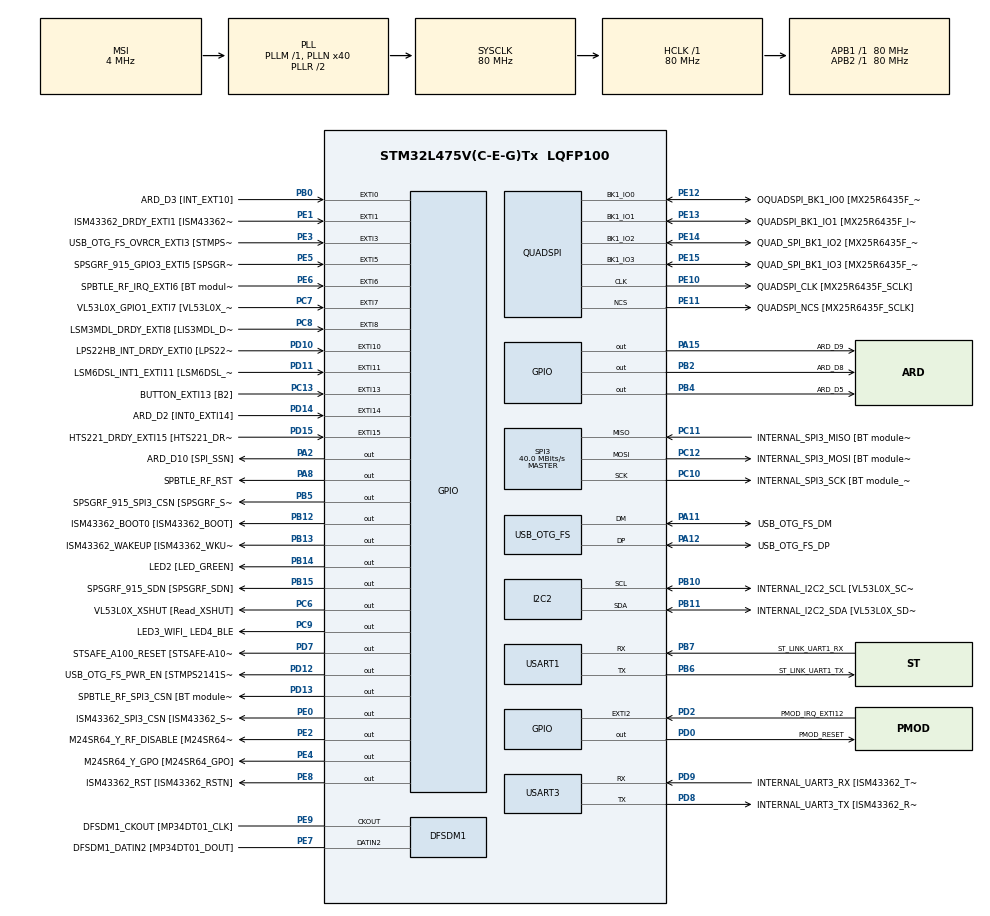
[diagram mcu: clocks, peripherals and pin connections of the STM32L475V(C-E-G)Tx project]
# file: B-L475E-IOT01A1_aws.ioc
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I2C2.Timing=0x10909CEC
Mcu.Family=STM32L4
Mcu.Name=STM32L475V(C-E-G)Tx
Mcu.Package=LQFP100
NVIC.EXTI15_10_IRQn=true\:0\:0\:false\:false\:true\:false\:true\:true\:true
NVIC.EXTI9_5_IRQn=true\:0\:0\:false\:false\:true\:false\:true\:true\:true
NVIC.PriorityGroup=NVIC_PRIORITYGROUP_4
NVIC.TIM7_IRQn=true\:15\:0\:false\:false\:true\:false\:false\:true\:true
NVIC.TimeBase=TIM7_IRQn
NVIC.TimeBaseIP=TIM7
PA0.GPIO_Label=ARD_D1 [UART4_TX]
PA0.Signal=UART4_TX
PA1.GPIO_Label=ARD_D0 [UART4_RX]
PA1.Signal=UART4_RX
PA10.GPIO_Label=USB_OTG_FS_ID
PA10.Signal=USB_OTG_FS_ID
PA11.GPIO_Label=USB_OTG_FS_DM
PA11.Mode=Device_Only
PA11.Signal=USB_OTG_FS_DM
PA12.GPIO_Label=USB_OTG_FS_DP
PA12.Mode=Device_Only
PA12.Signal=USB_OTG_FS_DP
PA13\ (JTMS-SWDIO).GPIO_Label=SYS_JTMS_SWDIO
PA13\ (JTMS-SWDIO).Mode=Serial_Wire
PA13\ (JTMS-SWDIO).Signal=SYS_JTMS-SWDIO
PA14\ (JTCK-SWCLK).GPIO_Label=SYS_JTCK_SWCLK
PA14\ (JTCK-SWCLK).Mode=Serial_Wire
PA14\ (JTCK-SWCLK).Signal=SYS_JTCK-SWCLK
PA15\ (JTDI).GPIO_Label=ARD_D9
PA15\ (JTDI).Signal=GPIO_Output
PA2.GPIO_Label=ARD_D10 [SPI_SSN]
PA2.Signal=GPIO_Output
PA3.GPIO_Label=ARD_D4
PA3.Signal=S_TIM2_CH4
PA4.GPIO_Label=ARD_D7
PA4.Signal=ADCx_IN9
PA5.GPIO_Label=ARD_D13 [SPI1_SCK]
PA5.Signal=SPI1_SCK
PA6.GPIO_Label=ARD_D12 [SPI1_MISO]
PA6.Signal=SPI1_MISO
PA7.GPIO_Label=ARD_D11 [SPI1_MOSI]
PA7.Signal=SPI1_MOSI
PA8.GPIO_Label=SPBTLE_RF_RST
PA8.Signal=GPIO_Output
PA9.GPIO_Label=USB_OTG_FS_VBUS [STMPS2141STR_OUT]
PA9.Signal=USB_OTG_FS_VBUS
PB0.GPIO_Label=ARD_D3 [INT_EXT10]
PB0.Signal=GPXTI0
PB1.GPIO_Label=ARD_D6 [ADC1_IN6]
PB1.Signal=ADCx_IN16
PB10.GPIO_Label=INTERNAL_I2C2_SCL [VL53L0X_SCL]
PB10.GPIO_Pu=GPIO_PULLUP
PB10.Mode=I2C
PB10.Signal=I2C2_SCL
PB11.GPIO_Label=INTERNAL_I2C2_SDA [VL53L0X_SDA]
PB11.GPIO_Pu=GPIO_PULLUP
PB11.Mode=I2C
PB11.Signal=I2C2_SDA
PB12.GPIO_Label=ISM43362_BOOT0 [ISM43362_BOOT]
PB12.Signal=GPIO_Output
PB13.GPIO_Label=ISM43362_WAKEUP [ISM43362_WKUP]
PB13.Signal=GPIO_Output
PB14.GPIO_Label=LED2 [LED_GREEN]
PB14.Signal=GPIO_Output
PB15.GPIO_Label=SPSGRF_915_SDN [SPSGRF_SDN]
PB15.Signal=GPIO_Output
PB2.GPIO_Label=ARD_D8
PB2.Signal=GPIO_Output
PB3\ (JTDO-TRACESWO).GPIO_Label=SYS_JTD0_SWO
PB3\ (JTDO-TRACESWO).Signal=SYS_JTDO-SWO
PB4\ (NJTRST).GPIO_Label=ARD_D5
PB4\ (NJTRST).Signal=GPIO_Output
PB5.GPIO_Label=SPSGRF_915_SPI3_CSN [SPSGRF_SPI_CS]
PB5.PinState=GPIO_PIN_SET
PB5.Signal=GPIO_Output
PB6.GPIO_Label=ST_LINK_UART1_TX
PB6.Mode=Asynchronous
PB6.Signal=USART1_TX
PB7.GPIO_Label=ST_LINK_UART1_RX
PB7.Mode=Asynchronous
PB7.Signal=USART1_RX
PB8.GPIO_Label=ARD_D15 [I2C1_SCL]
PB8.Signal=I2C1_SCL
PB9.GPIO_Label=ARD_D14 [I2C1_SDA]
PB9.Signal=I2C1_SDA
PC0.GPIO_Label=ARD_A5 [ADC]
PC0.Signal=ADCx_IN1
PC1.GPIO_Label=ARD_A4 [ADC]
PC1.Signal=ADCx_IN2
PC10.GPIO_Label=INTERNAL_SPI3_SCK [BT module_SPI_SCLK] [ISM43362_SCK]
PC10.Mode=Full_Duplex_Master
PC10.Signal=SPI3_SCK
PC11.GPIO_Label=INTERNAL_SPI3_MISO [BT module_SPI_MISO] [ISM43362_MISO]
PC11.Mode=Full_Duplex_Master
PC11.Signal=SPI3_MISO
PC12.GPIO_Label=INTERNAL_SPI3_MOSI [BT module_SPI_MOSI] [ISM43362_MOSI]
PC12.Mode=Full_Duplex_Master
PC12.Signal=SPI3_MOSI
PC13.GPIO_Label=BUTTON_EXTI13 [B2]
PC13.GPIO_ModeDefaultEXTI=GPIO_MODE_IT_FALLING
PC13.Signal=GPXTI13
PC14-OSC32_IN\ (PC14).Mode=LSE-External-Oscillator
PC14-OSC32_IN\ (PC14).Signal=RCC_OSC32_IN
PC15-OSC32_OUT\ (PC15).Mode=LSE-External-Oscillator
PC15-OSC32_OUT\ (PC15).Signal=RCC_OSC32_OUT
PC2.GPIO_Label=ARD_A3 [ADC]
PC2.Signal=ADCx_IN3
PC3.GPIO_Label=ARD_A2 [ADC]
PC3.Signal=ADCx_IN4
PC4.GPIO_Label=ARD_A1 [ADC]
PC4.Signal=ADCx_IN13
PC5.GPIO_Label=ARD_A0 [ADC]
PC5.Signal=ADCx_IN14
PC6.GPIO_Label=VL53L0X_XSHUT [Read_XSHUT]
PC6.Signal=GPIO_Output
PC7.GPIO_Label=VL53L0X_GPIO1_EXTI7 [VL53L0X_GPIO1]
PC7.Signal=GPXTI7
PC8.GPIO_Label=LSM3MDL_DRDY_EXTI8 [LIS3MDL_DRDY]
PC8.Signal=GPXTI8
PC9.GPIO_Label=LED3_WIFI_ LED4_BLE
PC9.Signal=GPIO_Output
PD0.GPIO_Label=PMOD_RESET
PD0.Signal=GPIO_Output
PD1.GPIO_Label=PMOD_SPI2_SCK
PD1.Signal=SPI2_SCK
PD10.GPIO_Label=LPS22HB_INT_DRDY_EXTI0 [LPS22HB_INT_DRDY] 
PD10.Signal=GPXTI10
PD11.GPIO_Label=LSM6DSL_INT1_EXTI11 [LSM6DSL_INT1]
PD11.Signal=GPXTI11
PD12.GPIO_Label=USB_OTG_FS_PWR_EN [STMPS2141STR_EN]
PD12.Signal=GPIO_Output
PD13.GPIO_Label=SPBTLE_RF_SPI3_CSN [BT module_SPI_CS]
PD13.PinState=GPIO_PIN_SET
PD13.Signal=GPIO_Output
PD14.GPIO_Label=ARD_D2 [INT0_EXTI14]
PD14.Signal=GPXTI14
PD15.GPIO_Label=HTS221_DRDY_EXTI15 [HTS221_DRDY]
PD15.Signal=GPXTI15
PD2.GPIO_Label=PMOD_IRQ_EXTI12
PD2.Signal=GPXTI2
PD3.GPIO_Label=PMOD_UART2_CTS
PD3.Signal=USART2_CTS
PD4.GPIO_Label=PMOD_UART2_RTS
PD4.Signal=USART2_RTS
PD5.GPIO_Label=PMOD_UART2_TX
PD5.Signal=USART2_TX
PD6.GPIO_Label=PMOD_UART2_RX
PD6.Signal=USART2_RX
PD7.GPIO_Label=STSAFE_A100_RESET [STSAFE-A100_RESET]
PD7.Signal=GPIO_Output
PD8.GPIO_Label=INTERNAL_UART3_TX [ISM43362_RX]
PD8.Mode=Asynchronous
PD8.Signal=USART3_TX
PD9.GPIO_Label=INTERNAL_UART3_RX [ISM43362_TX]
PD9.Mode=Asynchronous
PD9.Signal=USART3_RX
PE0.GPIO_Label=ISM43362_SPI3_CSN [ISM43362_SSN]
PE0.PinState=GPIO_PIN_SET
PE0.Signal=GPIO_Output
PE1.GPIO_Label=ISM43362_DRDY_EXTI1 [ISM43362_DATARDY]
PE1.Signal=GPXTI1
PE10.GPIO_Label=QUADSPI_CLK [MX25R6435F_SCLK]
PE10.Mode=Single Bank
PE10.Signal=QUADSPI_CLK
PE11.GPIO_Label=QUADSPI_NCS [MX25R6435F_SCLK]
PE11.Mode=Single Bank
PE11.Signal=QUADSPI_NCS
PE12.GPIO_Label=OQUADSPI_BK1_IO0 [MX25R6435F_IO0]
PE12.Mode=Single Bank
PE12.Signal=QUADSPI_BK1_IO0
PE13.GPIO_Label=QUADSPI_BK1_IO1 [MX25R6435F_IO1]
PE13.Mode=Single Bank
PE13.Signal=QUADSPI_BK1_IO1
PE14.GPIO_Label=QUAD_SPI_BK1_IO2 [MX25R6435F_IO2]
PE14.Mode=Single Bank
PE14.Signal=QUADSPI_BK1_IO2
PE15.GPIO_Label=QUAD_SPI_BK1_IO3 [MX25R6435F_IO3]
PE15.Mode=Single Bank
PE15.Signal=QUADSPI_BK1_IO3
PE2.GPIO_Label=M24SR64_Y_RF_DISABLE [M24SR64_RFDIS]
PE2.Signal=GPIO_Output
PE3.GPIO_Label=USB_OTG_FS_OVRCR_EXTI3 [STMPS2141STR_FAULT]
PE3.Signal=GPXTI3
PE4.GPIO_Label=M24SR64_Y_GPO [M24SR64_GPO]
PE4.Signal=GPIO_Output
PE5.GPIO_Label=SPSGRF_915_GPIO3_EXTI5 [SPSGRF_GPIO_3]
PE5.Signal=GPXTI5
PE6.GPIO_Label=SPBTLE_RF_IRQ_EXTI6 [BT module_SPI_IRQ]
PE6.Signal=GPXTI6
PE7.GPIO_Label=DFSDM1_DATIN2 [MP34DT01_DOUT]
PE7.Signal=S_DATAIN2DFSDM1
PE8.GPIO_Label=ISM43362_RST [ISM43362_RSTN]
PE8.Signal=GPIO_Output
PE9.GPIO_Label=DFSDM1_CKOUT [MP34DT01_CLK]
PE9.Signal=S_CKOUTDFSDM1
ProjectManager.HeapSize=0x200
ProjectManager.StackSize=0x400
ProjectManager.TargetToolchain=STM32CubeIDE
QUADSPI.ClockPrescaler=2
QUADSPI.FifoThreshold=4
QUADSPI.FlashSize=23
QUADSPI.SampleShifting=QSPI_SAMPLE_SHIFTING_HALFCYCLE
RCC.ADCFreq_Value=48000000
RCC.AHBFreq_Value=80000000
RCC.APB1Freq_Value=80000000
RCC.APB1TimFreq_Value=80000000
RCC.APB2Freq_Value=80000000
RCC.APB2TimFreq_Value=80000000
RCC.CortexFreq_Value=80000000
RCC.HCLKFreq_Value=80000000
RCC.HSE_VALUE=8000000
RCC.HSI_VALUE=16000000
RCC.MSI_VALUE=4000000
RCC.PLLN=40
RCC.PLLSAI1N=24
RCC.SYSCLKFreq_VALUE=80000000
RCC.SYSCLKSource=RCC_SYSCLKSOURCE_PLLCLK
RCC.USBFreq_Value=48000000
RCC.VCOOutputFreq_Value=160000000
SH.ADCx_IN1.0=ADC1_IN1
SH.ADCx_IN13.0=ADC1_IN13
SH.ADCx_IN14.0=ADC1_IN14
SH.ADCx_IN16.0=ADC1_IN16
SH.ADCx_IN2.0=ADC1_IN2
SH.ADCx_IN3.0=ADC1_IN3
SH.ADCx_IN4.0=ADC1_IN4
SH.ADCx_IN9.0=ADC1_IN9
SH.S_CKOUTDFSDM1.0=DFSDM1_CKOUT,CKOUT
SH.S_CKOUTDFSDM1.1=DFSDM1_CKOUT,PDM_SPI_Input_from_ch12_and_Internal_Clock
SH.S_DATAIN2DFSDM1.0=DFSDM1_DATIN2,PDM_SPI_Input_from_ch12_and_Internal_Clock
SH.S_TIM2_CH4.0=TIM2_CH4
SPI3.CalculateBaudRate=40.0 MBits/s
SPI3.Direction=SPI_DIRECTION_2LINES
SPI3.Mode=SPI_MODE_MASTER
SPI3.VirtualType=VM_MASTER
STMicroelectronics.X-CUBE-AZRTOS-L4.2.0.0.NetXDuoCcNetworkJjNetXDuoJjAddonsOoMQTT=true
STMicroelectronics.X-CUBE-AZRTOS-L4.2.0.0.NetXDuoCcNetworkJjNetXDuoJjNXOoCore=true
STMicroelectronics.X-CUBE-AZRTOS-L4.2.0.0.TX_APP_CREATION=1
STMicroelectronics.X-CUBE-AZRTOS-L4.2.0.0.TX_APP_GENERATE_INIT_CODE=true
STMicroelectronics.X-CUBE-AZRTOS-L4.2.0.0.TX_APP_MSG_QUEUE_CREATION=1
STMicroelectronics.X-CUBE-AZRTOS-L4.2.0.0.TX_APP_MUTEX_CREATION=1
STMicroelectronics.X-CUBE-AZRTOS-L4.2.0.0.TX_APP_SEM_CREATION=1
STMicroelectronics.X-CUBE-AZRTOS-L4.2.0.0.TX_TIMER_TICKS_PER_SECOND=1000
STMicroelectronics.X-CUBE-AZRTOS-L4.2.0.0.ThreadXCcRTOSJjThreadXJjCore=true
STMicroelectronics.X-CUBE-AZRTOS-L4.2.0.0.ThreadXCcRTOSJjThreadXJjLowOoPowerOosupport=true
STMicroelectronics.X-CUBE-AZRTOS-L4.2.0.0.ThreadXCcRTOSJjThreadXJjPerformanceInfo=true
STMicroelectronics.X-CUBE-AZRTOS-L4.2.0.0.ThreadXCcRTOSJjThreadXJjTraceXOosupport=true
STMicroelectronics.X-CUBE-AZRTOS-L4.2.0.0_IsAnAzureRtosMw=true
USART1.VirtualMode-Asynchronous=VM_ASYNC
USART3.VirtualMode-Asynchronous=VM_ASYNC
USB_OTG_FS.VirtualMode=Device_Only
VP_STMicroelectronics.X-CUBE-AZRTOS-L4_VS_NetworkJjNetXDuo_6.2.0_2.0.0.Mode=NetworkJjNetXDuo
VP_STMicroelectronics.X-CUBE-AZRTOS-L4_VS_RTOSJjThreadX_6.2.0_2.0.0.Mode=RTOSJjThreadX
VP_SYS_VS_tim7.Mode=TIM7
board=B-L475E-IOT01A1

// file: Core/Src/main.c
/* USER CODE BEGIN Header */
/**
  ******************************************************************************
  * @file           : main.c
  * @brief          : Main program body
  ******************************************************************************
  * @attention
  *
  * Copyright (c) 2024 STMicroelectronics.
  * All rights reserved.
  *
  * This software is licensed under terms that can be found in the LICENSE file
  * in the root directory of this software component.
  * If no LICENSE file comes with this software, it is provided AS-IS.
  *
  ******************************************************************************
  */
/* USER CODE END Header */
#include "app_threadx.h"
#include "main.h"

DFSDM_Channel_HandleTypeDef hdfsdm1_channel1;

I2C_HandleTypeDef hi2c2;

QSPI_HandleTypeDef hqspi;

SPI_HandleTypeDef hspi3;

UART_HandleTypeDef huart1;
UART_HandleTypeDef huart3;

PCD_HandleTypeDef hpcd_USB_OTG_FS;

void SystemClock_Config(void);
static void MX_GPIO_Init(void);
static void MX_DFSDM1_Init(void);
static void MX_I2C2_Init(void);
static void MX_QUADSPI_Init(void);
static void MX_SPI3_Init(void);
static void MX_USART1_UART_Init(void);
static void MX_USART3_UART_Init(void);
static void MX_USB_OTG_FS_PCD_Init(void);

int main(void)
{

  /* MCU Configuration--------------------------------------------------------*/

  /* Reset of all peripherals, Initializes the Flash interface and the Systick. */
  HAL_Init();

  /* Configure the system clock */
  SystemClock_Config();

  /* Initialize all configured peripherals */
  MX_GPIO_Init();
  MX_DFSDM1_Init();
  MX_I2C2_Init();
  MX_QUADSPI_Init();
  MX_SPI3_Init();
  MX_USART1_UART_Init();
  MX_USART3_UART_Init();
  MX_USB_OTG_FS_PCD_Init();
  /* USER CODE BEGIN 2 */
  //ES_WIFI_Status_t error = ES_WIFI_STATUS_MODULE_CRASH;
  //ES_WIFIObject_t    EsWifiObj;
  //error = wifi_probe_lite(&EsWifiObj);

  uint32_t ret = 0;
  float temp_value = 0;

  BSP_TSENSOR_Init();

  while(1)
  {
    ret = Serial_Scanf(255);
    if((ret == 'n') || (ret == 'N'))
    {
      printf("\n*** This is a new data ***\n\n");
      temp_value = BSP_TSENSOR_ReadTemp();
//      printf("TEMPERATURE is = %.2f �C\n", temp_value);
      printf("\n*** This is a new data ***\n\n");
      printf("\n*** Type n or N to get a new data ***\n\n");
      printf("\n*** Type q or Q to quit Temperature Test ***\n\n");
    }
    else if((ret == 'q') || (ret == 'Q'))
    {
      printf("\n*** End of Temperature Test ***\n\n");
      return;
    }
    else
    {
      printf("\n*** Type n or N to get a new data ***\n\n");
      printf("\n*** Type q or Q to quit Temperature Test ***\n\n");
    }
  }

  /* USER CODE END 2 */

  MX_ThreadX_Init();

  /* We should never get here as control is now taken by the scheduler */

  /* Infinite loop */
  while (1)
  {

  }
}

void SystemClock_Config(void)
{
  RCC_OscInitTypeDef RCC_OscInitStruct = {0};
  RCC_ClkInitTypeDef RCC_ClkInitStruct = {0};

  /** Configure the main internal regulator output voltage
  */
  if (HAL_PWREx_ControlVoltageScaling(PWR_REGULATOR_VOLTAGE_SCALE1) != HAL_OK)
  {
    Error_Handler();
  }

  /** Configure LSE Drive Capability
  */
  HAL_PWR_EnableBkUpAccess();
  __HAL_RCC_LSEDRIVE_CONFIG(RCC_LSEDRIVE_LOW);

  /** Initializes the RCC Oscillators according to the specified parameters
  * in the RCC_OscInitTypeDef structure.
  */
  RCC_OscInitStruct.OscillatorType = RCC_OSCILLATORTYPE_LSE|RCC_OSCILLATORTYPE_MSI;
  RCC_OscInitStruct.LSEState = RCC_LSE_ON;
  RCC_OscInitStruct.MSIState = RCC_MSI_ON;
  RCC_OscInitStruct.MSICalibrationValue = 0;
  RCC_OscInitStruct.MSIClockRange = RCC_MSIRANGE_6;
  RCC_OscInitStruct.PLL.PLLState = RCC_PLL_ON;
  RCC_OscInitStruct.PLL.PLLSource = RCC_PLLSOURCE_MSI;
  RCC_OscInitStruct.PLL.PLLM = 1;
  RCC_OscInitStruct.PLL.PLLN = 40;
  RCC_OscInitStruct.PLL.PLLP = RCC_PLLP_DIV7;
  RCC_OscInitStruct.PLL.PLLQ = RCC_PLLQ_DIV2;
  RCC_OscInitStruct.PLL.PLLR = RCC_PLLR_DIV2;
  if (HAL_RCC_OscConfig(&RCC_OscInitStruct) != HAL_OK)
  {
    Error_Handler();
  }

  /** Initializes the CPU, AHB and APB buses clocks
  */
  RCC_ClkInitStruct.ClockType = RCC_CLOCKTYPE_HCLK|RCC_CLOCKTYPE_SYSCLK
                              |RCC_CLOCKTYPE_PCLK1|RCC_CLOCKTYPE_PCLK2;
  RCC_ClkInitStruct.SYSCLKSource = RCC_SYSCLKSOURCE_PLLCLK;
  RCC_ClkInitStruct.AHBCLKDivider = RCC_SYSCLK_DIV1;
  RCC_ClkInitStruct.APB1CLKDivider = RCC_HCLK_DIV1;
  RCC_ClkInitStruct.APB2CLKDivider = RCC_HCLK_DIV1;

  if (HAL_RCC_ClockConfig(&RCC_ClkInitStruct, FLASH_LATENCY_4) != HAL_OK)
  {
    Error_Handler();
  }

  /** Enable MSI Auto calibration
  */
  HAL_RCCEx_EnableMSIPLLMode();
}

static void MX_DFSDM1_Init(void)
{

  hdfsdm1_channel1.Instance = DFSDM1_Channel1;
  hdfsdm1_channel1.Init.OutputClock.Activation = ENABLE;
  hdfsdm1_channel1.Init.OutputClock.Selection = DFSDM_CHANNEL_OUTPUT_CLOCK_SYSTEM;
  hdfsdm1_channel1.Init.OutputClock.Divider = 2;
  hdfsdm1_channel1.Init.Input.Multiplexer = DFSDM_CHANNEL_EXTERNAL_INPUTS;
  hdfsdm1_channel1.Init.Input.DataPacking = DFSDM_CHANNEL_STANDARD_MODE;
  hdfsdm1_channel1.Init.Input.Pins = DFSDM_CHANNEL_FOLLOWING_CHANNEL_PINS;
  hdfsdm1_channel1.Init.SerialInterface.Type = DFSDM_CHANNEL_SPI_RISING;
  hdfsdm1_channel1.Init.SerialInterface.SpiClock = DFSDM_CHANNEL_SPI_CLOCK_INTERNAL;
  hdfsdm1_channel1.Init.Awd.FilterOrder = DFSDM_CHANNEL_FASTSINC_ORDER;
  hdfsdm1_channel1.Init.Awd.Oversampling = 1;
  hdfsdm1_channel1.Init.Offset = 0;
  hdfsdm1_channel1.Init.RightBitShift = 0x00;
  if (HAL_DFSDM_ChannelInit(&hdfsdm1_channel1) != HAL_OK)
  {
    Error_Handler();
  }

}

static void MX_I2C2_Init(void)
{

  hi2c2.Instance = I2C2;
  hi2c2.Init.Timing = 0x10909CEC;
  hi2c2.Init.OwnAddress1 = 0;
  hi2c2.Init.AddressingMode = I2C_ADDRESSINGMODE_7BIT;
  hi2c2.Init.DualAddressMode = I2C_DUALADDRESS_DISABLE;
  hi2c2.Init.OwnAddress2 = 0;
  hi2c2.Init.OwnAddress2Masks = I2C_OA2_NOMASK;
  hi2c2.Init.GeneralCallMode = I2C_GENERALCALL_DISABLE;
  hi2c2.Init.NoStretchMode = I2C_NOSTRETCH_DISABLE;
  if (HAL_I2C_Init(&hi2c2) != HAL_OK)
  {
    Error_Handler();
  }

  /** Configure Analogue filter
  */
  if (HAL_I2CEx_ConfigAnalogFilter(&hi2c2, I2C_ANALOGFILTER_ENABLE) != HAL_OK)
  {
    Error_Handler();
  }

  /** Configure Digital filter
  */
  if (HAL_I2CEx_ConfigDigitalFilter(&hi2c2, 0) != HAL_OK)
  {
    Error_Handler();
  }

}

static void MX_QUADSPI_Init(void)
{

  /* QUADSPI parameter configuration*/
  hqspi.Instance = QUADSPI;
  hqspi.Init.ClockPrescaler = 2;
  hqspi.Init.FifoThreshold = 4;
  hqspi.Init.SampleShifting = QSPI_SAMPLE_SHIFTING_HALFCYCLE;
  hqspi.Init.FlashSize = 23;
  hqspi.Init.ChipSelectHighTime = QSPI_CS_HIGH_TIME_1_CYCLE;
  hqspi.Init.ClockMode = QSPI_CLOCK_MODE_0;
  if (HAL_QSPI_Init(&hqspi) != HAL_OK)
  {
    Error_Handler();
  }

}

static void MX_SPI3_Init(void)
{

  /* SPI3 parameter configuration*/
  hspi3.Instance = SPI3;
  hspi3.Init.Mode = SPI_MODE_MASTER;
  hspi3.Init.Direction = SPI_DIRECTION_2LINES;
  hspi3.Init.DataSize = SPI_DATASIZE_4BIT;
  hspi3.Init.CLKPolarity = SPI_POLARITY_LOW;
  hspi3.Init.CLKPhase = SPI_PHASE_1EDGE;
  hspi3.Init.NSS = SPI_NSS_SOFT;
  hspi3.Init.BaudRatePrescaler = SPI_BAUDRATEPRESCALER_2;
  hspi3.Init.FirstBit = SPI_FIRSTBIT_MSB;
  hspi3.Init.TIMode = SPI_TIMODE_DISABLE;
  hspi3.Init.CRCCalculation = SPI_CRCCALCULATION_DISABLE;
  hspi3.Init.CRCPolynomial = 7;
  hspi3.Init.CRCLength = SPI_CRC_LENGTH_DATASIZE;
  hspi3.Init.NSSPMode = SPI_NSS_PULSE_ENABLE;
  if (HAL_SPI_Init(&hspi3) != HAL_OK)
  {
    Error_Handler();
  }

}

static void MX_USART1_UART_Init(void)
{

  huart1.Instance = USART1;
  huart1.Init.BaudRate = 115200;
  huart1.Init.WordLength = UART_WORDLENGTH_8B;
  huart1.Init.StopBits = UART_STOPBITS_1;
  huart1.Init.Parity = UART_PARITY_NONE;
  huart1.Init.Mode = UART_MODE_TX_RX;
  huart1.Init.HwFlowCtl = UART_HWCONTROL_NONE;
  huart1.Init.OverSampling = UART_OVERSAMPLING_16;
  huart1.Init.OneBitSampling = UART_ONE_BIT_SAMPLE_DISABLE;
  huart1.AdvancedInit.AdvFeatureInit = UART_ADVFEATURE_NO_INIT;
  if (HAL_UART_Init(&huart1) != HAL_OK)
  {
    Error_Handler();
  }

}

static void MX_USART3_UART_Init(void)
{

  huart3.Instance = USART3;
  huart3.Init.BaudRate = 115200;
  huart3.Init.WordLength = UART_WORDLENGTH_8B;
  huart3.Init.StopBits = UART_STOPBITS_1;
  huart3.Init.Parity = UART_PARITY_NONE;
  huart3.Init.Mode = UART_MODE_TX_RX;
  huart3.Init.HwFlowCtl = UART_HWCONTROL_NONE;
  huart3.Init.OverSampling = UART_OVERSAMPLING_16;
  huart3.Init.OneBitSampling = UART_ONE_BIT_SAMPLE_DISABLE;
  huart3.AdvancedInit.AdvFeatureInit = UART_ADVFEATURE_NO_INIT;
  if (HAL_UART_Init(&huart3) != HAL_OK)
  {
    Error_Handler();
  }

}

static void MX_USB_OTG_FS_PCD_Init(void)
{

  hpcd_USB_OTG_FS.Instance = USB_OTG_FS;
  hpcd_USB_OTG_FS.Init.dev_endpoints = 6;
  hpcd_USB_OTG_FS.Init.speed = PCD_SPEED_FULL;
  hpcd_USB_OTG_FS.Init.phy_itface = PCD_PHY_EMBEDDED;
  hpcd_USB_OTG_FS.Init.Sof_enable = DISABLE;
  hpcd_USB_OTG_FS.Init.low_power_enable = DISABLE;
  hpcd_USB_OTG_FS.Init.lpm_enable = DISABLE;
  hpcd_USB_OTG_FS.Init.battery_charging_enable = DISABLE;
  hpcd_USB_OTG_FS.Init.use_dedicated_ep1 = DISABLE;
  hpcd_USB_OTG_FS.Init.vbus_sensing_enable = DISABLE;
  if (HAL_PCD_Init(&hpcd_USB_OTG_FS) != HAL_OK)
  {
    Error_Handler();
  }

}

static void MX_GPIO_Init(void)
{
  GPIO_InitTypeDef GPIO_InitStruct = {0};

  /* GPIO Ports Clock Enable */
  __HAL_RCC_GPIOE_CLK_ENABLE();
  __HAL_RCC_GPIOC_CLK_ENABLE();
  __HAL_RCC_GPIOA_CLK_ENABLE();
  __HAL_RCC_GPIOB_CLK_ENABLE();
  __HAL_RCC_GPIOD_CLK_ENABLE();

  /*Configure GPIO pin Output Level */
  HAL_GPIO_WritePin(GPIOE, M24SR64_Y_RF_DISABLE_Pin|M24SR64_Y_GPO_Pin|ISM43362_RST_Pin, GPIO_PIN_RESET);

  /*Configure GPIO pin Output Level */
  HAL_GPIO_WritePin(GPIOA, ARD_D10_Pin|SPBTLE_RF_RST_Pin|ARD_D9_Pin, GPIO_PIN_RESET);

  /*Configure GPIO pin Output Level */
  HAL_GPIO_WritePin(GPIOB, ARD_D8_Pin|ISM43362_BOOT0_Pin|ISM43362_WAKEUP_Pin|LED2_Pin
                          |SPSGRF_915_SDN_Pin|ARD_D5_Pin, GPIO_PIN_RESET);

  /*Configure GPIO pin Output Level */
  HAL_GPIO_WritePin(GPIOD, USB_OTG_FS_PWR_EN_Pin|PMOD_RESET_Pin|STSAFE_A100_RESET_Pin, GPIO_PIN_RESET);

  /*Configure GPIO pin Output Level */
  HAL_GPIO_WritePin(SPBTLE_RF_SPI3_CSN_GPIO_Port, SPBTLE_RF_SPI3_CSN_Pin, GPIO_PIN_SET);

  /*Configure GPIO pin Output Level */
  HAL_GPIO_WritePin(GPIOC, VL53L0X_XSHUT_Pin|LED3_WIFI__LED4_BLE_Pin, GPIO_PIN_RESET);

  /*Configure GPIO pin Output Level */
  HAL_GPIO_WritePin(SPSGRF_915_SPI3_CSN_GPIO_Port, SPSGRF_915_SPI3_CSN_Pin, GPIO_PIN_SET);

  /*Configure GPIO pin Output Level */
  HAL_GPIO_WritePin(ISM43362_SPI3_CSN_GPIO_Port, ISM43362_SPI3_CSN_Pin, GPIO_PIN_SET);

  /*Configure GPIO pins : M24SR64_Y_RF_DISABLE_Pin M24SR64_Y_GPO_Pin ISM43362_RST_Pin ISM43362_SPI3_CSN_Pin */
  GPIO_InitStruct.Pin = M24SR64_Y_RF_DISABLE_Pin|M24SR64_Y_GPO_Pin|ISM43362_RST_Pin|ISM43362_SPI3_CSN_Pin;
  GPIO_InitStruct.Mode = GPIO_MODE_OUTPUT_PP;
  GPIO_InitStruct.Pull = GPIO_NOPULL;
  GPIO_InitStruct.Speed = GPIO_SPEED_FREQ_LOW;
  HAL_GPIO_Init(GPIOE, &GPIO_InitStruct);

  /*Configure GPIO pins : USB_OTG_FS_OVRCR_EXTI3_Pin SPSGRF_915_GPIO3_EXTI5_Pin SPBTLE_RF_IRQ_EXTI6_Pin ISM43362_DRDY_EXTI1_Pin */
  GPIO_InitStruct.Pin = USB_OTG_FS_OVRCR_EXTI3_Pin|SPSGRF_915_GPIO3_EXTI5_Pin|SPBTLE_RF_IRQ_EXTI6_Pin|ISM43362_DRDY_EXTI1_Pin;
  GPIO_InitStruct.Mode = GPIO_MODE_IT_RISING;
  GPIO_InitStruct.Pull = GPIO_NOPULL;
  HAL_GPIO_Init(GPIOE, &GPIO_InitStruct);

  /*Configure GPIO pin : BUTTON_EXTI13_Pin */
  GPIO_InitStruct.Pin = BUTTON_EXTI13_Pin;
  GPIO_InitStruct.Mode = GPIO_MODE_IT_FALLING;
  GPIO_InitStruct.Pull = GPIO_NOPULL;
  HAL_GPIO_Init(BUTTON_EXTI13_GPIO_Port, &GPIO_InitStruct);

  /*Configure GPIO pins : ARD_A5_Pin ARD_A4_Pin ARD_A3_Pin ARD_A2_Pin
                           ARD_A1_Pin ARD_A0_Pin */
  GPIO_InitStruct.Pin = ARD_A5_Pin|ARD_A4_Pin|ARD_A3_Pin|ARD_A2_Pin
                          |ARD_A1_Pin|ARD_A0_Pin;
  GPIO_InitStruct.Mode = GPIO_MODE_ANALOG_ADC_CONTROL;
  GPIO_InitStruct.Pull = GPIO_NOPULL;
  HAL_GPIO_Init(GPIOC, &GPIO_InitStruct);

  /*Configure GPIO pins : ARD_D1_Pin ARD_D0_Pin */
  GPIO_InitStruct.Pin = ARD_D1_Pin|ARD_D0_Pin;
  GPIO_InitStruct.Mode = GPIO_MODE_AF_PP;
  GPIO_InitStruct.Pull = GPIO_NOPULL;
  GPIO_InitStruct.Speed = GPIO_SPEED_FREQ_VERY_HIGH;
  GPIO_InitStruct.Alternate = GPIO_AF8_UART4;
  HAL_GPIO_Init(GPIOA, &GPIO_InitStruct);

  /*Configure GPIO pins : ARD_D10_Pin SPBTLE_RF_RST_Pin ARD_D9_Pin */
  GPIO_InitStruct.Pin = ARD_D10_Pin|SPBTLE_RF_RST_Pin|ARD_D9_Pin;
  GPIO_InitStruct.Mode = GPIO_MODE_OUTPUT_PP;
  GPIO_InitStruct.Pull = GPIO_NOPULL;
  GPIO_InitStruct.Speed = GPIO_SPEED_FREQ_LOW;
  HAL_GPIO_Init(GPIOA, &GPIO_InitStruct);

  /*Configure GPIO pin : ARD_D4_Pin */
  GPIO_InitStruct.Pin = ARD_D4_Pin;
  GPIO_InitStruct.Mode = GPIO_MODE_AF_PP;
  GPIO_InitStruct.Pull = GPIO_NOPULL;
  GPIO_InitStruct.Speed = GPIO_SPEED_FREQ_LOW;
  GPIO_InitStruct.Alternate = GPIO_AF1_TIM2;
  HAL_GPIO_Init(ARD_D4_GPIO_Port, &GPIO_InitStruct);

  /*Configure GPIO pin : ARD_D7_Pin */
  GPIO_InitStruct.Pin = ARD_D7_Pin;
  GPIO_InitStruct.Mode = GPIO_MODE_ANALOG_ADC_CONTROL;
  GPIO_InitStruct.Pull = GPIO_NOPULL;
  HAL_GPIO_Init(ARD_D7_GPIO_Port, &GPIO_InitStruct);

  /*Configure GPIO pins : ARD_D13_Pin ARD_D12_Pin ARD_D11_Pin */
  GPIO_InitStruct.Pin = ARD_D13_Pin|ARD_D12_Pin|ARD_D11_Pin;
  GPIO_InitStruct.Mode = GPIO_MODE_AF_PP;
  GPIO_InitStruct.Pull = GPIO_NOPULL;
  GPIO_InitStruct.Speed = GPIO_SPEED_FREQ_VERY_HIGH;
  GPIO_InitStruct.Alternate = GPIO_AF5_SPI1;
  HAL_GPIO_Init(GPIOA, &GPIO_InitStruct);

  /*Configure GPIO pin : ARD_D3_Pin */
  GPIO_InitStruct.Pin = ARD_D3_Pin;
  GPIO_InitStruct.Mode = GPIO_MODE_IT_RISING;
  GPIO_InitStruct.Pull = GPIO_NOPULL;
  HAL_GPIO_Init(ARD_D3_GPIO_Port, &GPIO_InitStruct);

  /*Configure GPIO pin : ARD_D6_Pin */
  GPIO_InitStruct.Pin = ARD_D6_Pin;
  GPIO_InitStruct.Mode = GPIO_MODE_ANALOG_ADC_CONTROL;
  GPIO_InitStruct.Pull = GPIO_NOPULL;
  HAL_GPIO_Init(ARD_D6_GPIO_Port, &GPIO_InitStruct);

  /*Configure GPIO pins : ARD_D8_Pin ISM43362_BOOT0_Pin ISM43362_WAKEUP_Pin LED2_Pin
                           SPSGRF_915_SDN_Pin ARD_D5_Pin SPSGRF_915_SPI3_CSN_Pin */
  GPIO_InitStruct.Pin = ARD_D8_Pin|ISM43362_BOOT0_Pin|ISM43362_WAKEUP_Pin|LED2_Pin
                          |SPSGRF_915_SDN_Pin|ARD_D5_Pin|SPSGRF_915_SPI3_CSN_Pin;
  GPIO_InitStruct.Mode = GPIO_MODE_OUTPUT_PP;
  GPIO_InitStruct.Pull = GPIO_NOPULL;
  GPIO_InitStruct.Speed = GPIO_SPEED_FREQ_LOW;
  HAL_GPIO_Init(GPIOB, &GPIO_InitStruct);

  /*Configure GPIO pins : LPS22HB_INT_DRDY_EXTI0_Pin LSM6DSL_INT1_EXTI11_Pin ARD_D2_Pin HTS221_DRDY_EXTI15_Pin
                           PMOD_IRQ_EXTI12_Pin */
  GPIO_InitStruct.Pin = LPS22HB_INT_DRDY_EXTI0_Pin|LSM6DSL_INT1_EXTI11_Pin|ARD_D2_Pin|HTS221_DRDY_EXTI15_Pin
                          |PMOD_IRQ_EXTI12_Pin;
  GPIO_InitStruct.Mode = GPIO_MODE_IT_RISING;
  GPIO_InitStruct.Pull = GPIO_NOPULL;
  HAL_GPIO_Init(GPIOD, &GPIO_InitStruct);

  /*Configure GPIO pins : USB_OTG_FS_PWR_EN_Pin SPBTLE_RF_SPI3_CSN_Pin PMOD_RESET_Pin STSAFE_A100_RESET_Pin */
  GPIO_InitStruct.Pin = USB_OTG_FS_PWR_EN_Pin|SPBTLE_RF_SPI3_CSN_Pin|PMOD_RESET_Pin|STSAFE_A100_RESET_Pin;
  GPIO_InitStruct.Mode = GPIO_MODE_OUTPUT_PP;
  GPIO_InitStruct.Pull = GPIO_NOPULL;
  GPIO_InitStruct.Speed = GPIO_SPEED_FREQ_LOW;
  HAL_GPIO_Init(GPIOD, &GPIO_InitStruct);

  /*Configure GPIO pins : VL53L0X_XSHUT_Pin LED3_WIFI__LED4_BLE_Pin */
  GPIO_InitStruct.Pin = VL53L0X_XSHUT_Pin|LED3_WIFI__LED4_BLE_Pin;
  GPIO_InitStruct.Mode = GPIO_MODE_OUTPUT_PP;
  GPIO_InitStruct.Pull = GPIO_NOPULL;
  GPIO_InitStruct.Speed = GPIO_SPEED_FREQ_LOW;
  HAL_GPIO_Init(GPIOC, &GPIO_InitStruct);

  /*Configure GPIO pins : VL53L0X_GPIO1_EXTI7_Pin LSM3MDL_DRDY_EXTI8_Pin */
  GPIO_InitStruct.Pin = VL53L0X_GPIO1_EXTI7_Pin|LSM3MDL_DRDY_EXTI8_Pin;
  GPIO_InitStruct.Mode = GPIO_MODE_IT_RISING;
  GPIO_InitStruct.Pull = GPIO_NOPULL;
  HAL_GPIO_Init(GPIOC, &GPIO_InitStruct);

  /*Configure GPIO pin : PMOD_SPI2_SCK_Pin */
  GPIO_InitStruct.Pin = PMOD_SPI2_SCK_Pin;
  GPIO_InitStruct.Mode = GPIO_MODE_AF_PP;
  GPIO_InitStruct.Pull = GPIO_NOPULL;
  GPIO_InitStruct.Speed = GPIO_SPEED_FREQ_VERY_HIGH;
  GPIO_InitStruct.Alternate = GPIO_AF5_SPI2;
  HAL_GPIO_Init(PMOD_SPI2_SCK_GPIO_Port, &GPIO_InitStruct);

  /*Configure GPIO pins : PMOD_UART2_CTS_Pin PMOD_UART2_RTS_Pin PMOD_UART2_TX_Pin PMOD_UART2_RX_Pin */
  GPIO_InitStruct.Pin = PMOD_UART2_CTS_Pin|PMOD_UART2_RTS_Pin|PMOD_UART2_TX_Pin|PMOD_UART2_RX_Pin;
  GPIO_InitStruct.Mode = GPIO_MODE_AF_PP;
  GPIO_InitStruct.Pull = GPIO_NOPULL;
  GPIO_InitStruct.Speed = GPIO_SPEED_FREQ_VERY_HIGH;
  GPIO_InitStruct.Alternate = GPIO_AF7_USART2;
  HAL_GPIO_Init(GPIOD, &GPIO_InitStruct);

  /*Configure GPIO pins : ARD_D15_Pin ARD_D14_Pin */
  GPIO_InitStruct.Pin = ARD_D15_Pin|ARD_D14_Pin;
  GPIO_InitStruct.Mode = GPIO_MODE_AF_OD;
  GPIO_InitStruct.Pull = GPIO_NOPULL;
  GPIO_InitStruct.Speed = GPIO_SPEED_FREQ_VERY_HIGH;
  GPIO_InitStruct.Alternate = GPIO_AF4_I2C1;
  HAL_GPIO_Init(GPIOB, &GPIO_InitStruct);

  /* EXTI interrupt init*/
  HAL_NVIC_SetPriority(EXTI9_5_IRQn, 0, 0);
  HAL_NVIC_EnableIRQ(EXTI9_5_IRQn);

  HAL_NVIC_SetPriority(EXTI15_10_IRQn, 0, 0);
  HAL_NVIC_EnableIRQ(EXTI15_10_IRQn);

}

void HAL_TIM_PeriodElapsedCallback(TIM_HandleTypeDef *htim)
{
  if (htim->Instance == TIM7) {
    HAL_IncTick();
  }
}

void Error_Handler(void)
{
  __disable_irq();
  while (1)
  {
  }
}
